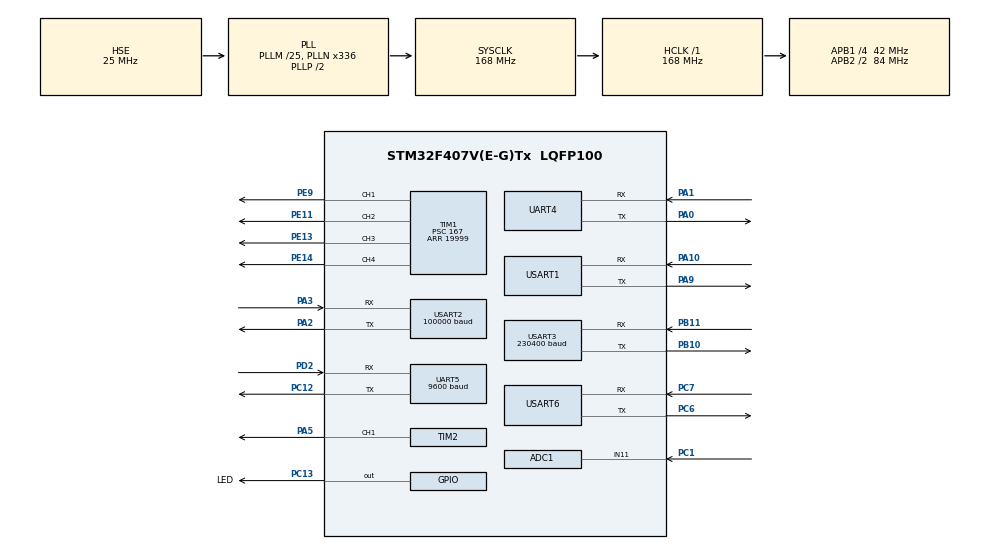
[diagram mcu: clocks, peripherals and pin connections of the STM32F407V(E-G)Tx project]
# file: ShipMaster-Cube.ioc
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ADC1.Channel-0\#ChannelRegularConversion=ADC_CHANNEL_11
ADC1.ContinuousConvMode=ENABLE
ADC1.InjNumberOfConversion=0
ADC1.NbrOfConversionFlag=1
ADC1.Rank-0\#ChannelRegularConversion=1
ADC1.SamplingTime-0\#ChannelRegularConversion=ADC_SAMPLETIME_3CYCLES
ADC1.master=1
FREERTOS.Tasks01=radarTask,24,1024,StartRadarTask,Default,NULL,Dynamic,NULL,NULL;ledTask,8,128,LedTask,Default,NULL,Dynamic,NULL,NULL;sbusTask,8,128,SubsTask,Default,NULL,Dynamic,NULL,NULL;controlTask,8,128,ControlTask,Default,NULL,Dynamic,NULL,NULL;motorTask,8,128,MotorTask,Default,NULL,Dynamic,NULL,NULL;mavlinkTask,8,1024,MavLinkTask,Default,NULL,Dynamic,NULL,NULL;attitudeTask,8,128,AttitudeTask,Default,NULL,Dynamic,NULL,NULL;gpsTask,8,128,GpsTask,Default,NULL,Dynamic,NULL,NULL
Mcu.Family=STM32F4
Mcu.Name=STM32F407V(E-G)Tx
Mcu.Package=LQFP100
NVIC.PriorityGroup=NVIC_PRIORITYGROUP_4
NVIC.TIM8_TRG_COM_TIM14_IRQn=true\:15\:0\:false\:false\:true\:false\:false\:true\:true
NVIC.TimeBase=TIM8_TRG_COM_TIM14_IRQn
NVIC.TimeBaseIP=TIM14
NVIC.UART4_IRQn=true\:5\:0\:false\:false\:true\:true\:true\:true\:true
NVIC.UART5_IRQn=true\:5\:0\:false\:false\:true\:true\:true\:true\:true
NVIC.USART2_IRQn=true\:5\:0\:false\:false\:true\:true\:true\:true\:true
NVIC.USART3_IRQn=true\:5\:0\:false\:false\:true\:true\:true\:true\:true
PA0-WKUP.Mode=Asynchronous
PA0-WKUP.Signal=UART4_TX
PA1.Mode=Asynchronous
PA1.Signal=UART4_RX
PA10.Mode=Asynchronous
PA10.Signal=USART1_RX
PA13.Mode=Serial_Wire
PA13.Signal=SYS_JTMS-SWDIO
PA14.Mode=Serial_Wire
PA14.Signal=SYS_JTCK-SWCLK
PA2.Mode=Asynchronous
PA2.Signal=USART2_TX
PA3.Mode=Asynchronous
PA3.Signal=USART2_RX
PA5.Signal=S_TIM2_CH1_ETR
PA9.Mode=Asynchronous
PA9.Signal=USART1_TX
PB10.Mode=Asynchronous
PB10.Signal=USART3_TX
PB11.Mode=Asynchronous
PB11.Signal=USART3_RX
PC1.Signal=ADCx_IN11
PC12.Mode=Asynchronous
PC12.Signal=UART5_TX
PC13-ANTI_TAMP.GPIO_Label=LED
PC13-ANTI_TAMP.Signal=GPIO_Output
PC6.Mode=Asynchronous
PC6.Signal=USART6_TX
PC7.Mode=Asynchronous
PC7.Signal=USART6_RX
PD2.Mode=Asynchronous
PD2.Signal=UART5_RX
PE11.Signal=S_TIM1_CH2
PE13.Signal=S_TIM1_CH3
PE14.Signal=S_TIM1_CH4
PE9.Signal=S_TIM1_CH1
PH0-OSC_IN.Mode=HSE-External-Oscillator
PH0-OSC_IN.Signal=RCC_OSC_IN
PH1-OSC_OUT.Mode=HSE-External-Oscillator
PH1-OSC_OUT.Signal=RCC_OSC_OUT
ProjectManager.HeapSize=0x200
ProjectManager.StackSize=0x400
ProjectManager.TargetToolchain=SW4STM32
RCC.48MHZClocksFreq_Value=84000000
RCC.AHBFreq_Value=168000000
RCC.APB1CLKDivider=RCC_HCLK_DIV4
RCC.APB1Freq_Value=42000000
RCC.APB1TimFreq_Value=84000000
RCC.APB2CLKDivider=RCC_HCLK_DIV2
RCC.APB2Freq_Value=84000000
RCC.APB2TimFreq_Value=168000000
RCC.CortexFreq_Value=168000000
RCC.HCLKFreq_Value=168000000
RCC.HSE_VALUE=25000000
RCC.HSI_VALUE=16000000
RCC.LSE_VALUE=32768
RCC.PLLM=25
RCC.PLLN=336
RCC.PLLSourceVirtual=RCC_PLLSOURCE_HSE
RCC.SYSCLKFreq_VALUE=168000000
RCC.SYSCLKSource=RCC_SYSCLKSOURCE_PLLCLK
RCC.VCOOutputFreq_Value=336000000
SH.ADCx_IN11.0=ADC1_IN11,IN11
SH.S_TIM1_CH1.0=TIM1_CH1,PWM Generation1 CH1
SH.S_TIM1_CH2.0=TIM1_CH2,PWM Generation2 CH2
SH.S_TIM1_CH3.0=TIM1_CH3,PWM Generation3 CH3
SH.S_TIM1_CH4.0=TIM1_CH4,PWM Generation4 CH4
SH.S_TIM2_CH1_ETR.0=TIM2_CH1,PWM Generation1 CH1
TIM1.AutoReloadPreload=TIM_AUTORELOAD_PRELOAD_ENABLE
TIM1.Channel-PWM\ Generation1\ CH1=TIM_CHANNEL_1
TIM1.Channel-PWM\ Generation2\ CH2=TIM_CHANNEL_2
TIM1.Channel-PWM\ Generation3\ CH3=TIM_CHANNEL_3
TIM1.Channel-PWM\ Generation4\ CH4=TIM_CHANNEL_4
TIM1.Period=19999
TIM1.Prescaler=167
TIM1.Pulse-PWM\ Generation1\ CH1=200
TIM2.Channel-PWM\ Generation1\ CH1=TIM_CHANNEL_1
TIM2.Period=19999
TIM2.Prescaler=167
TIM2.Pulse-PWM\ Generation1\ CH1=250
UART4.VirtualMode=Asynchronous
UART5.BaudRate=9600
UART5.VirtualMode=Asynchronous
USART1.VirtualMode=VM_ASYNC
USART2.BaudRate=100000
USART2.Parity=PARITY_EVEN
USART2.StopBits=STOPBITS_2
USART2.VirtualMode=VM_ASYNC
USART2.WordLength=WORDLENGTH_9B
USART3.BaudRate=230400
USART3.Mode=MODE_TX_RX
USART3.VirtualMode=VM_ASYNC
USART6.VirtualMode=VM_ASYNC
VP_FREERTOS_VS_CMSIS_V2.Mode=CMSIS_V2
VP_SYS_VS_tim14.Mode=TIM14
VP_TIM1_VS_ClockSourceINT.Mode=Internal
board=custom

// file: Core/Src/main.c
/* USER CODE BEGIN Header */
/**
  ******************************************************************************
  * @file           : main.c
  * @brief          : Main program body
  ******************************************************************************
  * @attention
  *
  * Copyright (c) 2022 STMicroelectronics.
  * All rights reserved.
  *
  * This software is licensed under terms that can be found in the LICENSE file
  * in the root directory of this software component.
  * If no LICENSE file comes with this software, it is provided AS-IS.
  *
  ******************************************************************************
  */
/* USER CODE END Header */
#include "main.h"
#include "cmsis_os.h"
#include "adc.h"
#include "tim.h"
#include "usart.h"
#include "gpio.h"

void SystemClock_Config(void);
void MX_FREERTOS_Init(void);

int main(void)
{

  /* MCU Configuration--------------------------------------------------------*/

  /* Reset of all peripherals, Initializes the Flash interface and the Systick. */
  HAL_Init();

  /* Configure the system clock */
  SystemClock_Config();

  /* Initialize all configured peripherals */
  MX_GPIO_Init();
  MX_USART3_UART_Init();
  MX_USART2_UART_Init();
  MX_USART6_UART_Init();
  MX_TIM1_Init();
  MX_USART1_UART_Init();
  MX_UART4_Init();
  MX_UART5_Init();
  MX_ADC1_Init();
  MX_TIM2_Init();

  /* Init scheduler */
  osKernelInitialize();  /* Call init function for freertos objects (in freertos.c) */
  MX_FREERTOS_Init();

  /* Start scheduler */
  osKernelStart();

  /* We should never get here as control is now taken by the scheduler */
  /* Infinite loop */
  while (1)
  {

  }
}

void SystemClock_Config(void)
{
  RCC_OscInitTypeDef RCC_OscInitStruct = {0};
  RCC_ClkInitTypeDef RCC_ClkInitStruct = {0};

  /** Configure the main internal regulator output voltage
  */
  __HAL_RCC_PWR_CLK_ENABLE();
  __HAL_PWR_VOLTAGESCALING_CONFIG(PWR_REGULATOR_VOLTAGE_SCALE1);

  /** Initializes the RCC Oscillators according to the specified parameters
  * in the RCC_OscInitTypeDef structure.
  */
  RCC_OscInitStruct.OscillatorType = RCC_OSCILLATORTYPE_HSE;
  RCC_OscInitStruct.HSEState = RCC_HSE_ON;
  RCC_OscInitStruct.PLL.PLLState = RCC_PLL_ON;
  RCC_OscInitStruct.PLL.PLLSource = RCC_PLLSOURCE_HSE;
  RCC_OscInitStruct.PLL.PLLM = 25;
  RCC_OscInitStruct.PLL.PLLN = 336;
  RCC_OscInitStruct.PLL.PLLP = RCC_PLLP_DIV2;
  RCC_OscInitStruct.PLL.PLLQ = 4;
  if (HAL_RCC_OscConfig(&RCC_OscInitStruct) != HAL_OK)
  {
    Error_Handler();
  }

  /** Initializes the CPU, AHB and APB buses clocks
  */
  RCC_ClkInitStruct.ClockType = RCC_CLOCKTYPE_HCLK|RCC_CLOCKTYPE_SYSCLK
                              |RCC_CLOCKTYPE_PCLK1|RCC_CLOCKTYPE_PCLK2;
  RCC_ClkInitStruct.SYSCLKSource = RCC_SYSCLKSOURCE_PLLCLK;
  RCC_ClkInitStruct.AHBCLKDivider = RCC_SYSCLK_DIV1;
  RCC_ClkInitStruct.APB1CLKDivider = RCC_HCLK_DIV4;
  RCC_ClkInitStruct.APB2CLKDivider = RCC_HCLK_DIV2;

  if (HAL_RCC_ClockConfig(&RCC_ClkInitStruct, FLASH_LATENCY_5) != HAL_OK)
  {
    Error_Handler();
  }
}

void HAL_TIM_PeriodElapsedCallback(TIM_HandleTypeDef *htim)
{
  if (htim->Instance == TIM14) {
    HAL_IncTick();
  }
}

void Error_Handler(void)
{
  __disable_irq();
  while (1)
  {
  }
}

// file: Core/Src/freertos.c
/* USER CODE BEGIN Header */
/**
  ******************************************************************************
  * File Name          : freertos.c
  * Description        : Code for freertos applications
  ******************************************************************************
  * @attention
  *
  * Copyright (c) 2022 STMicroelectronics.
  * All rights reserved.
  *
  * This software is licensed under terms that can be found in the LICENSE file
  * in the root directory of this software component.
  * If no LICENSE file comes with this software, it is provided AS-IS.
  *
  ******************************************************************************
  */
/* USER CODE END Header */

#include "FreeRTOS.h"
#include "task.h"
#include "main.h"
#include "cmsis_os.h"

/* USER CODE BEGIN Includes */
#include "usart.h"
#include "delta_2A.h"
#include "sbus.h"
#include "tim.h"
#include "check.h"
#include "mavlink.h"
#include "adc.h"
#include "string.h"
#include "math.h"
/* USER CODE END Includes */

/* USER CODE BEGIN Variables */
uint8_t aRxBuffer = 0;
uint8_t sbusRxBuffer = 0;
uint8_t attitudeRxBuffer = 0;
// 串口数据结构�?????
struct RxData{
    uint8_t RxState;
    uint16_t RxCounter;
    uint8_t RxBuff[2048];
};
struct RxData radar_rx_data={0, 0, {0}}; // 雷达数据接收缓存
struct RxData sbus_rx_data = {0, 0, {0}}; // sbus遥控数据接收缓存
struct RxData attitude_rx_data = {0, 0, {0}};
struct RxData gps_rx_data = {0, 0, {0}};
// 遥控按键舵量结构�?????
struct TeleControl{
    uint16_t X1;
    uint16_t Y1;
    uint16_t X2;
    uint16_t Y2;
    uint16_t A;
    uint16_t B;
    uint16_t C;
    uint16_t D;
    uint16_t E;
    uint16_t F;
    uint16_t G;
    uint16_t H;
}tele_value = {1500, 1500, 1500, 1500,
                1500, 1500, 1500, 1500,
                1500, 1500, 1500, 1500,};

struct Attitude{
    float Roll;
    float Pitch;
    float Yaw;
}attitude_value = {0, 0, 0};
struct GPS{
    double Latitude;
    double Longitude;
}gps_data = {0, 0};
uint8_t mode_flag = 0;
uint16_t servo_pwm = 250;
/* USER CODE END Variables */
/* Definitions for radarTask */
osThreadId_t radarTaskHandle;
const osThreadAttr_t radarTask_attributes = {
  .name = "radarTask",
  .stack_size = 1024 * 4,
  .priority = (osPriority_t) osPriorityNormal,
};
/* Definitions for ledTask */
osThreadId_t ledTaskHandle;
const osThreadAttr_t ledTask_attributes = {
  .name = "ledTask",
  .stack_size = 128 * 4,
  .priority = (osPriority_t) osPriorityLow,
};
/* Definitions for sbusTask */
osThreadId_t sbusTaskHandle;
const osThreadAttr_t sbusTask_attributes = {
  .name = "sbusTask",
  .stack_size = 128 * 4,
  .priority = (osPriority_t) osPriorityLow,
};
/* Definitions for controlTask */
osThreadId_t controlTaskHandle;
const osThreadAttr_t controlTask_attributes = {
  .name = "controlTask",
  .stack_size = 128 * 4,
  .priority = (osPriority_t) osPriorityLow,
};
/* Definitions for motorTask */
osThreadId_t motorTaskHandle;
const osThreadAttr_t motorTask_attributes = {
  .name = "motorTask",
  .stack_size = 128 * 4,
  .priority = (osPriority_t) osPriorityLow,
};
/* Definitions for mavlinkTask */
osThreadId_t mavlinkTaskHandle;
const osThreadAttr_t mavlinkTask_attributes = {
  .name = "mavlinkTask",
  .stack_size = 1024 * 4,
  .priority = (osPriority_t) osPriorityLow,
};
/* Definitions for attitudeTask */
osThreadId_t attitudeTaskHandle;
const osThreadAttr_t attitudeTask_attributes = {
  .name = "attitudeTask",
  .stack_size = 128 * 4,
  .priority = (osPriority_t) osPriorityLow,
};
/* Definitions for gpsTask */
osThreadId_t gpsTaskHandle;
const osThreadAttr_t gpsTask_attributes = {
  .name = "gpsTask",
  .stack_size = 128 * 4,
  .priority = (osPriority_t) osPriorityLow,
};

/* USER CODE BEGIN FunctionPrototypes */
//校验函数
uint16_t CRC16(uint8_t *start_byte, uint16_t num_bytes);
//电机控制函数
void MOTOR_DirCtrl(uint8_t addr, uint8_t dir);
double str2float(char *buf, uint8_t len);
double ddmm2d(double data);
/* USER CODE END FunctionPrototypes */

void StartRadarTask(void *argument);
void LedTask(void *argument);
void SubsTask(void *argument);
void ControlTask(void *argument);
void MotorTask(void *argument);
void MavLinkTask(void *argument);
void AttitudeTask(void *argument);
void GpsTask(void *argument);

void MX_FREERTOS_Init(void); /* (MISRA C 2004 rule 8.1) */

void MX_FREERTOS_Init(void) {

  /* Create the thread(s) */
  /* creation of radarTask */
  radarTaskHandle = osThreadNew(StartRadarTask, NULL, &radarTask_attributes);

  /* creation of ledTask */
  ledTaskHandle = osThreadNew(LedTask, NULL, &ledTask_attributes);

  /* creation of sbusTask */
  sbusTaskHandle = osThreadNew(SubsTask, NULL, &sbusTask_attributes);

  /* creation of controlTask */
  controlTaskHandle = osThreadNew(ControlTask, NULL, &controlTask_attributes);

  /* creation of motorTask */
  motorTaskHandle = osThreadNew(MotorTask, NULL, &motorTask_attributes);

  /* creation of mavlinkTask */
  mavlinkTaskHandle = osThreadNew(MavLinkTask, NULL, &mavlinkTask_attributes);

  /* creation of attitudeTask */
  attitudeTaskHandle = osThreadNew(AttitudeTask, NULL, &attitudeTask_attributes);

  /* creation of gpsTask */
  gpsTaskHandle = osThreadNew(GpsTask, NULL, &gpsTask_attributes);

}

/* USER CODE BEGIN Header_StartRadarTask */
/**
  * @brief  雷达接收任务.
  * @param  argument: Not used
  * @retval None
  */
/* USER CODE END Header_StartRadarTask */
void StartRadarTask(void *argument)
{
  /* USER CODE BEGIN StartRadarTask */
    HAL_UART_Receive_IT(&huart3, (uint8_t *)&aRxBuffer, 1);
    uint16_t dis_data[256]= {0};
    float angle_data[256]= {0};
  /* Infinite loop */
  for(;;)
  {
    if(radar_rx_data.RxState == 1)
    {
      RADAR_ReadData(dis_data, angle_data, radar_rx_data.RxBuff);
      radar_rx_data.RxState = 0;
      radar_rx_data.RxCounter = 0;
    }
    osDelay(10);
  }
  /* USER CODE END StartRadarTask */
}

/* USER CODE BEGIN Header_LedTask */
/**
* @brief led任务.
* @param argument: Not used
* @retval None
*/
/* USER CODE END Header_LedTask */
void LedTask(void *argument)
{
  /* USER CODE BEGIN LedTask */
  uint16_t  bb =0;
  /* Infinite loop */
  for(;;)
  {

    osDelay(1000);
  }
  /* USER CODE END LedTask */
}

/* USER CODE BEGIN Header_SubsTask */
/**
* @brief sbus数据接收处理任务.
* @param argument: Not used
* @retval None
*/
/* USER CODE END Header_SubsTask */
void SubsTask(void *argument)
{
  /* USER CODE BEGIN SubsTask */
  uint16_t sbus_ch_value[16] = {0};
  HAL_UART_Receive_IT(&huart2, (uint8_t *)&sbusRxBuffer, 1);
  /* Infinite loop */
  for(;;)
  {
      if(sbus_rx_data.RxState == 1)
      {
          SBUS_ReadData(sbus_ch_value, sbus_rx_data.RxBuff);
          tele_value.X1 = (uint16_t)(sbus_ch_value[0] * (1500.0/1002.0));
          tele_value.Y1 = (uint16_t)(sbus_ch_value[1] * (1500.0/1002.0));
          tele_value.X2 = (uint16_t)(sbus_ch_value[2] * (1500.0/1002.0));
          tele_value.Y2 = (uint16_t)(sbus_ch_value[3] * (1500.0/1002.0));
          tele_value.A = (uint16_t)(sbus_ch_value[4] * (1500.0/1002.0));
          tele_value.B = (uint16_t)(sbus_ch_value[5] * (1500.0/1002.0));
          tele_value.C = (uint16_t)(sbus_ch_value[6] * (1500.0/1002.0));
          tele_value.D = (uint16_t)(sbus_ch_value[7] * (1500.0/1002.0));
          tele_value.E = (uint16_t)(sbus_ch_value[8] * (1500.0/1002.0));
          tele_value.F = (uint16_t)(sbus_ch_value[9] * (1500.0/1002.0));
          tele_value.G = (uint16_t)(sbus_ch_value[10] * (1500.0/1002.0));
          tele_value.H = (uint16_t)(sbus_ch_value[11] * (1500.0/1002.0));
          sbus_rx_data.RxState = 0;
          sbus_rx_data.RxCounter = 0;
      }
      osDelay(5);
  }
  /* USER CODE END SubsTask */
}

/* USER CODE BEGIN Header_ControlTask */
/**
* @brief 电机控制任务.
* @param argument: Not used
* @retval None
*/
/* USER CODE END Header_ControlTask */
void ControlTask(void *argument)
{
  /* USER CODE BEGIN ControlTask */
  struct TeleControl old_tele_data;
  old_tele_data.G = 1500;
  HAL_TIM_PWM_Start(&htim2, TIM_CHANNEL_1);
  __HAL_TIM_SET_COMPARE(&htim2, TIM_CHANNEL_1, 250);
  /* Infinite loop */
  for(;;)
  {
    //__HAL_TIM_SET_COMPARE(&htim1, TIM_CHANNEL_1, tele_value.Y1);
    if(old_tele_data.G != tele_value.G)
    {
        if(tele_value.G < 1300)
        {
            mode_flag = 0;
            MOTOR_DirCtrl(0x01, 0x10);
            osDelay(5);
            MOTOR_DirCtrl(0x02, 0x10);
            osDelay(5);
            MOTOR_DirCtrl(0x03, 0x11);
            servo_pwm = 250;
        }else if(tele_value.G > 1700)
        {
            mode_flag = 2;
            MOTOR_DirCtrl(0x01, 0x11);
            osDelay(5);
            MOTOR_DirCtrl(0x02, 0x11);
            osDelay(5);
            MOTOR_DirCtrl(0x03, 0x11);
            servo_pwm = 750;
        }else
        {
            mode_flag = 1;
            MOTOR_DirCtrl(0x01, 0x10);
            osDelay(5);
            MOTOR_DirCtrl(0x02, 0x11);
            osDelay(5);
            MOTOR_DirCtrl(0x03, 0x10);
            servo_pwm = 1250;
        }
    }

    if(tele_value.X2 > 1700)
        servo_pwm+=30;
    if(tele_value.X2 < 1300)
      servo_pwm-=30;
    if(servo_pwm < 250)
        servo_pwm = 250;
    if(servo_pwm >1250)
        servo_pwm = 1250;
    old_tele_data.G = tele_value.G;
    __HAL_TIM_SET_COMPARE(&htim2, TIM_CHANNEL_1, servo_pwm);
    osDelay(100);
  }
  /* USER CODE END ControlTask */
}

/* USER CODE BEGIN Header_MotorTask */
/**
* @brief 无刷电机控制任务
* @param argument: Not used
* @retval None
*/
/* USER CODE END Header_MotorTask */
void MotorTask(void *argument)
{
  /* USER CODE BEGIN MotorTask */
  //初始化pwm输出
    HAL_TIM_PWM_Start(&htim1, TIM_CHANNEL_1);
    HAL_TIM_PWM_Start(&htim1, TIM_CHANNEL_2);
    HAL_TIM_PWM_Start(&htim1, TIM_CHANNEL_3);
    HAL_TIM_PWM_Start(&htim1, TIM_CHANNEL_4);
    __HAL_TIM_SET_COMPARE(&htim1, TIM_CHANNEL_1, 1500);
    __HAL_TIM_SET_COMPARE(&htim1, TIM_CHANNEL_2, 1500);
    __HAL_TIM_SET_COMPARE(&htim1, TIM_CHANNEL_3, 1500);
    __HAL_TIM_SET_COMPARE(&htim1, TIM_CHANNEL_4, 1500);
    struct MotorOutValue{
        uint16_t M1;
        uint16_t M2;
        uint16_t M3;
        uint16_t M4;
    }out_value = {1500, 1500, 1500, 1500};
  /* Infinite loop */
  for(;;)
  {
    if(mode_flag == 0)
    {
        out_value.M1 = tele_value.Y1 - (1500 - tele_value.X1);
        out_value.M2 = tele_value.Y1 + (1500 - tele_value.X1);
        out_value.M3 = tele_value.Y1 + (1500 - tele_value.X1);
        out_value.M4 = tele_value.Y1 - (1500 - tele_value.X1);
    }
    else if(mode_flag == 1)
    {
        out_value.M1 = 1500 - (tele_value.Y1 - 1500) - (1500 - tele_value.X1);
        out_value.M2 = 1500 - (tele_value.Y1 - 1500) + (1500 - tele_value.X1);
        out_value.M3 = 1500 - (tele_value.Y1 - 1500) + (1500 - tele_value.X1);
        out_value.M4 = 1500 - (tele_value.Y1 - 1500) - (1500 - tele_value.X1);
    }
    else
    {
        out_value.M1 = tele_value.Y1 - (1500 - tele_value.X1);
        out_value.M2 = tele_value.Y1 + (1500 - tele_value.X1);
        out_value.M3 = 1500 - (tele_value.Y1 - 1500) + (1500 - tele_value.X1);
        out_value.M4 = 1500 - (tele_value.Y1 - 1500) - (1500 - tele_value.X1);
    }
    if(out_value.M1 < 800)
        out_value.M1 = 800;
    if(out_value.M1 > 2100)
        out_value.M1 = 2100;
    if(out_value.M2 < 800)
      out_value.M2 = 800;
    if(out_value.M2 > 2100)
      out_value.M2 = 2100;
    if(out_value.M3 < 800)
      out_value.M3 = 800;
    if(out_value.M3 > 2100)
      out_value.M3 = 2100;
    if(out_value.M4 < 800)
      out_value.M4 = 800;
    if(out_value.M4 > 2100)
      out_value.M4 = 2100;
    __HAL_TIM_SET_COMPARE(&htim1, TIM_CHANNEL_1, out_value.M1);
    __HAL_TIM_SET_COMPARE(&htim1, TIM_CHANNEL_2, out_value.M2);
    __HAL_TIM_SET_COMPARE(&htim1, TIM_CHANNEL_3, out_value.M3);
    __HAL_TIM_SET_COMPARE(&htim1, TIM_CHANNEL_4, out_value.M4);
    osDelay(5);
  }
  /* USER CODE END MotorTask */
}

void MavLinkTask(void *argument)
{
  /* USER CODE BEGIN MavLinkTask */
  uint8_t mavlink_buf[50]={0};
  uint8_t heart_beat[9] = {0x00, 0x00, 0x00, 0x00, 0x00, 0x03, 0x51, 0x03, 0x03};
  uint8_t payload[21] = {0};
  uint16_t adc_value = 0;
  float voltage = 0;
  /* Infinite loop */
  for(;;)
  {

    MAVLINK_HeartBeat(mavlink_buf);
    osDelay(5);
    adc_value = HAL_ADC_GetValue(&hadc1);
    voltage = (float)(adc_value/4095.0)*3300;
    voltage = voltage*(float)(72.7/4.7);
    MAVLINK_SysStatus(mavlink_buf, (uint16_t)voltage);
    HAL_ADC_Start(&hadc1);
    osDelay(5);
    MAVLINK_Gps(mavlink_buf, gps_data.Latitude, gps_data.Longitude);
    osDelay(5);
    if(attitude_value.Roll > 180)
        attitude_value.Roll = attitude_value.Roll -360;
    MAVLINK_Attitude(mavlink_buf, attitude_value.Roll/57, attitude_value.Pitch/57, attitude_value.Yaw/57);
    osDelay(100);
  }
  /* USER CODE END MavLinkTask */
}

void AttitudeTask(void *argument)
{
  /* USER CODE BEGIN AttitudeTask */
  HAL_UART_Receive_IT(&huart4, &attitudeRxBuffer, 1);
  /* Infinite loop */
  for(;;)
  {
    if(attitude_rx_data.RxState == 1)
    {
        attitude_value.Roll = (float)((attitude_rx_data.RxBuff[3]<<8)|attitude_rx_data.RxBuff[2])/32768.0f*180.0f;
        attitude_value.Pitch = (float)((attitude_rx_data.RxBuff[5]<<8)|attitude_rx_data.RxBuff[4])/32768.0f*180.0f;
        attitude_value.Yaw = (float)((attitude_rx_data.RxBuff[7]<<8)|attitude_rx_data.RxBuff[6])/32768.0f*180.0f;
        attitude_rx_data.RxCounter = 0;
        attitude_rx_data.RxState = 0;
    }
    osDelay(100);
  }
  /* USER CODE END AttitudeTask */
}

void GpsTask(void *argument)
{
  /* USER CODE BEGIN GpsTask */
    static double old_latitude = 0;
    static double old_longitude = 0;
    static uint8_t flag = 0;
    HAL_UART_Receive_IT(&huart5, gps_rx_data.RxBuff, 1024);
  /* Infinite loop */
  for(;;)
  {
    if(gps_rx_data.RxState == 1)
    {
        char *gnrmc = strstr((char *)gps_rx_data.RxBuff, "$GNRMC");
        if(gnrmc)
        {
            if(strstr(gnrmc, ",V,"))
            {
                HAL_GPIO_TogglePin(LED_GPIO_Port, LED_Pin);
                continue;
            }

            char *latitude = strstr(gnrmc, ",A,") + 3;
            char *latitude_end = strstr(latitude, ",N,");
            char *longitude = latitude_end + 3;
            char *longitude_end = strstr(latitude, ",E,");
            double latitude_data =  str2float(latitude, latitude_end - latitude);
            double longitude_data =  str2float(longitude, longitude_end - longitude);
            latitude_data = ddmm2d(latitude_data);
            longitude_data = ddmm2d(longitude_data);
            if(flag == 0)
            {
                old_latitude = latitude_data;
                old_longitude = longitude_data;
                flag = 1;
            }
            if(old_latitude - latitude_data > 0.003 || old_latitude - latitude_data < -0.003)
                continue;
            if(old_longitude - longitude_data > 0.003 || old_longitude - longitude_data < -0.003)
                continue;
            old_longitude = longitude_data;
            old_latitude = latitude_data;
            gps_data.Latitude = latitude_data;
            gps_data.Longitude = longitude_data;
        }
        gps_rx_data.RxCounter = 0;
        gps_rx_data.RxState = 0;
    }
    osDelay(100);
  }
  /* USER CODE END GpsTask */
}

/* USER CODE BEGIN Application */
//电机方向控制
void MOTOR_DirCtrl(uint8_t addr, uint8_t dir)
{
    uint8_t data[8];
    data[0] = 0xa5;
    data[1] = 0xa5;
    data[2] = addr;
    data[3] = 0x10;
    data[4] = dir;
    data[5] = 0x5a;
    data[6] = 0x5a;
    data[7] = CRC16(data, 7);
    HAL_UART_Transmit(&huart6, data, 8, 0xffff);
}

//串口中断回调函数
void HAL_UART_RxCpltCallback(UART_HandleTypeDef *huart)
{
    //�?????光雷达数据接�?????
    if(huart == &huart3)
    {
        static uint16_t len = 0;
        radar_rx_data.RxBuff[radar_rx_data.RxCounter] = aRxBuffer;
        if(radar_rx_data.RxCounter > 0 && radar_rx_data.RxState == 0)
        {
            if(radar_rx_data.RxCounter == 3)
                len = (radar_rx_data.RxBuff[1] << 8) + radar_rx_data.RxBuff[2];
            if(radar_rx_data.RxCounter == len + 1 && radar_rx_data.RxCounter > 3)
            {
                radar_rx_data.RxState = 1;
                len = 0;
            }
            radar_rx_data.RxCounter++;
        }
        if(aRxBuffer == 0xaa && radar_rx_data.RxCounter==0)
            radar_rx_data.RxCounter++;
        HAL_UART_Receive_IT(&huart3, (uint8_t *)&aRxBuffer, 1);
    }
    //sbus遥控数据接收
    else if(huart == &huart2)
    {
        sbus_rx_data.RxBuff[sbus_rx_data.RxCounter] = sbusRxBuffer;
        if(sbus_rx_data.RxCounter >0)
        {
            if(sbus_rx_data.RxCounter == 24)
                sbus_rx_data.RxState = 1;
            sbus_rx_data.RxCounter ++;
        }
        if(sbusRxBuffer == 0x0f && sbus_rx_data.RxCounter == 0)
        {
            sbus_rx_data.RxCounter ++;
        }
        HAL_UART_Receive_IT(&huart2, (uint8_t *)&sbusRxBuffer, 1);
    }
    else if(huart == &huart4)
    {
        attitude_rx_data.RxBuff[attitude_rx_data.RxCounter] = attitudeRxBuffer;
        if(attitude_rx_data.RxCounter >0)
        {
            if(attitude_rx_data.RxCounter == 10)
                attitude_rx_data.RxState = 1;
            attitude_rx_data.RxCounter ++;
        }
        if(attitudeRxBuffer == 0x55 && attitude_rx_data.RxCounter == 0)
        {
            attitude_rx_data.RxCounter ++;
        }
        HAL_UART_Receive_IT(&huart4, &attitudeRxBuffer, 1);
    }
    else if(huart == &huart5)
    {
        gps_rx_data.RxState = 1;
        HAL_UART_Receive_IT(&huart5, gps_rx_data.RxBuff, 1024);
    }
}

//CRC16校验
uint16_t CRC16(uint8_t *start_byte, uint16_t num_bytes)
{
    uint16_t check_sum = 0;
    while (num_bytes--)
    {
        check_sum += *start_byte++;
    }
    return check_sum;
}

uint16_t str2int(const char *buf, uint8_t len)
{
    uint16_t num =0;
    for(uint8_t i=0;i<len;i++)
    {
        num += (*(buf +i) -'0') * pow(10, (len-1 -i));
    }
    return num;
}
double str2float(char *buf, uint8_t len)
{
    char *point = strstr(buf, ".");
    uint16_t integral = str2int(buf, point - buf);
    uint16_t decimals = str2int(point+1, len-(point -buf)-1);
    double dec = decimals/pow(10, len -(point-buf)-1);
    return (double)integral + dec;
}

double ddmm2d(double data)
{
    data /=100;
    double d = data;
    uint16_t dd = (uint16_t)d;
    double m = (data - dd) * 100;
    double out = dd+ m/60;
    return out;
}
/* USER CODE END Application */
